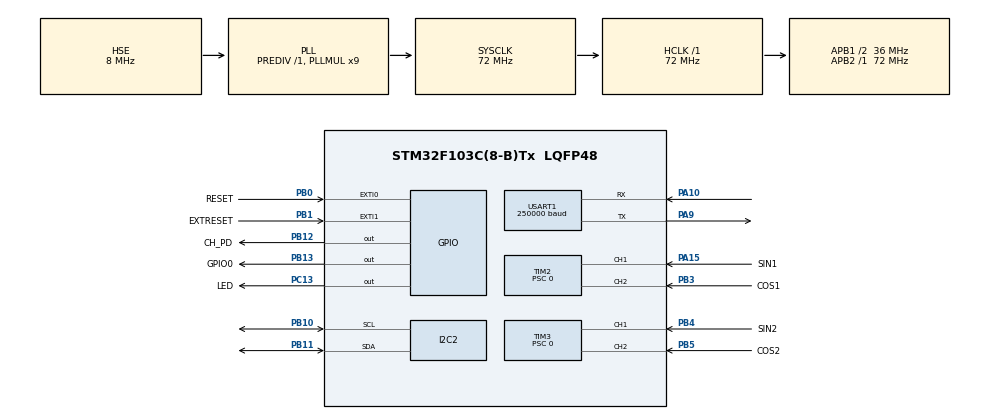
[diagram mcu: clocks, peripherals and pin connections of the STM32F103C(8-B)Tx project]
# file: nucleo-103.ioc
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Mcu.Family=STM32F1
Mcu.Name=STM32F103C(8-B)Tx
Mcu.Package=LQFP48
NVIC.EXTI0_IRQn=true\:0\:0\:false\:false\:true
NVIC.EXTI1_IRQn=true\:0\:0\:false\:false\:true
NVIC.PriorityGroup=NVIC_PRIORITYGROUP_4
NVIC.TIM2_IRQn=true\:0\:0\:false\:false\:true
NVIC.TIM3_IRQn=true\:0\:0\:false\:false\:true
NVIC.TIM4_IRQn=true\:0\:0\:false\:false\:true
NVIC.USART1_IRQn=true\:0\:0\:false\:false\:true
PA10.GPIO_PuPd=GPIO_NOPULL
PA10.Mode=Asynchronous
PA10.Signal=USART1_RX
PA13.GPIO_Label=SWDIO
PA13.Mode=Serial_Wire
PA13.Signal=SYS_JTMS-SWDIO
PA14.GPIO_Label=SWCLK
PA14.Mode=Serial_Wire
PA14.Signal=SYS_JTCK-SWCLK
PA15.GPIO_Label=SIN1
PA15.GPIO_PuPd=GPIO_PULLDOWN
PA15.Signal=S_TIM2_CH1_ETR
PA9.Mode=Asynchronous
PA9.Signal=USART1_TX
PB0.GPIO_Label=RESET
PB0.GPIO_PuPd=GPIO_PULLUP
PB0.Signal=GPXTI0
PB1.GPIO_Label=EXTRESET
PB1.GPIO_PuPd=GPIO_PULLUP
PB1.Signal=GPXTI1
PB10.Mode=I2C
PB10.Signal=I2C2_SCL
PB11.Mode=I2C
PB11.Signal=I2C2_SDA
PB12.GPIO_Label=CH_PD
PB12.PinState=GPIO_PIN_SET
PB12.Signal=GPIO_Output
PB13.GPIO_Label=GPIO0
PB13.PinState=GPIO_PIN_SET
PB13.Signal=GPIO_Output
PB3.GPIO_Label=COS1
PB3.GPIO_PuPd=GPIO_PULLDOWN
PB3.Signal=S_TIM2_CH2
PB4.GPIO_Label=SIN2
PB4.GPIO_PuPd=GPIO_PULLDOWN
PB4.Signal=S_TIM3_CH1
PB5.GPIO_Label=COS2
PB5.GPIO_PuPd=GPIO_PULLDOWN
PB5.Signal=S_TIM3_CH2
PC13-TAMPER-RTC.GPIO_Label=LED
PC13-TAMPER-RTC.PinState=GPIO_PIN_SET
PC13-TAMPER-RTC.Signal=GPIO_Output
PC14-OSC32_IN.Mode=LSE-External-Oscillator
PC14-OSC32_IN.Signal=RCC_OSC32_IN
PC15-OSC32_OUT.Mode=LSE-External-Oscillator
PC15-OSC32_OUT.Signal=RCC_OSC32_OUT
PD0-OSC_IN.Mode=HSE-External-Oscillator
PD0-OSC_IN.Signal=RCC_OSC_IN
PD1-OSC_OUT.Mode=HSE-External-Oscillator
PD1-OSC_OUT.Signal=RCC_OSC_OUT
ProjectManager.HeapSize=0x1000
ProjectManager.StackSize=0x1000
ProjectManager.TargetToolchain=SW4STM32
RCC.ADCPresc=RCC_ADCPCLK2_DIV6
RCC.AHBFreq_Value=72000000
RCC.APB1CLKDivider=RCC_HCLK_DIV2
RCC.APB1Freq_Value=36000000
RCC.APB1TimFreq_Value=72000000
RCC.APB2Freq_Value=72000000
RCC.APB2TimFreq_Value=72000000
RCC.HCLKFreq_Value=72000000
RCC.PLLMUL=RCC_PLL_MUL9
RCC.PLLSourceVirtual=RCC_PLLSOURCE_HSE
RCC.RTCClockSelection=RCC_RTCCLKSOURCE_LSE
RCC.SYSCLKFreq_VALUE=72000000
RCC.SYSCLKSource=RCC_SYSCLKSOURCE_PLLCLK
RCC.USBFreq_Value=48000000
RCC.USBPrescaler=RCC_USBCLKSOURCE_PLL_DIV1_5
RCC.VDD_VALUE=3.3
SH.S_TIM2_CH1_ETR.0=TIM2_CH1,Encoder_Interface
SH.S_TIM2_CH2.0=TIM2_CH2,Encoder_Interface
SH.S_TIM3_CH1.0=TIM3_CH1,Encoder_Interface
SH.S_TIM3_CH2.0=TIM3_CH2,Encoder_Interface
TIM2.ClockDivision=TIM_CLOCKDIVISION_DIV1
TIM2.EncoderMode=TIM_ENCODERMODE_TI12
TIM2.IC1Filter=0
TIM2.IC1Polarity=TIM_ICPOLARITY_RISING
TIM2.IC1Prescaler=TIM_ICPSC_DIV1
TIM2.IC2Filter=0
TIM2.IC2Polarity=TIM_ICPOLARITY_RISING
TIM2.IC2Prescaler=TIM_ICPSC_DIV1
TIM2.Period=65535
TIM2.Prescaler=0
TIM3.ClockDivision=TIM_CLOCKDIVISION_DIV1
TIM3.EncoderMode=TIM_ENCODERMODE_TI12
TIM3.IC1Filter=0
TIM3.IC1Polarity=TIM_ICPOLARITY_RISING
TIM3.IC1Prescaler=TIM_ICPSC_DIV1
TIM3.IC2Filter=0
TIM3.IC2Polarity=TIM_ICPOLARITY_RISING
TIM3.IC2Prescaler=TIM_ICPSC_DIV1
TIM3.Period=65535
TIM3.Prescaler=0
TIM4.Period=120
TIM4.Prescaler=60000
USART1.BaudRate=250000
USART1.VirtualMode=VM_ASYNC
VP_TIM4_VS_ClockSourceINT.Mode=Internal
board=nucleo-103

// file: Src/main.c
/**
  ******************************************************************************
  * File Name          : main.c
  * Description        : Main program body
  ******************************************************************************
  *
  * COPYRIGHT(c) 2017 STMicroelectronics
  *
  * Redistribution and use in source and binary forms, with or without modification,
  * are permitted provided that the following conditions are met:
  *   1. Redistributions of source code must retain the above copyright notice,
  *      this list of conditions and the following disclaimer.
  *   2. Redistributions in binary form must reproduce the above copyright notice,
  *      this list of conditions and the following disclaimer in the documentation
  *      and/or other materials provided with the distribution.
  *   3. Neither the name of STMicroelectronics nor the names of its contributors
  *      may be used to endorse or promote products derived from this software
  *      without specific prior written permission.
  *
  * THIS SOFTWARE IS PROVIDED BY THE COPYRIGHT HOLDERS AND CONTRIBUTORS "AS IS"
  * AND ANY EXPRESS OR IMPLIED WARRANTIES, INCLUDING, BUT NOT LIMITED TO, THE
  * IMPLIED WARRANTIES OF MERCHANTABILITY AND FITNESS FOR A PARTICULAR PURPOSE ARE
  * DISCLAIMED. IN NO EVENT SHALL THE COPYRIGHT HOLDER OR CONTRIBUTORS BE LIABLE
  * FOR ANY DIRECT, INDIRECT, INCIDENTAL, SPECIAL, EXEMPLARY, OR CONSEQUENTIAL
  * DAMAGES (INCLUDING, BUT NOT LIMITED TO, PROCUREMENT OF SUBSTITUTE GOODS OR
  * SERVICES; LOSS OF USE, DATA, OR PROFITS; OR BUSINESS INTERRUPTION) HOWEVER
  * CAUSED AND ON ANY THEORY OF LIABILITY, WHETHER IN CONTRACT, STRICT LIABILITY,
  * OR TORT (INCLUDING NEGLIGENCE OR OTHERWISE) ARISING IN ANY WAY OUT OF THE USE
  * OF THIS SOFTWARE, EVEN IF ADVISED OF THE POSSIBILITY OF SUCH DAMAGE.
  *
  ******************************************************************************
  */
#include "main.h"
#include "stm32f1xx_hal.h"
#include "i2c.h"
#include "tim.h"
#include "usart.h"
#include "gpio.h"

/* USER CODE BEGIN Includes */
#include "utils.h"
#include "hd44780.h"
#include "string.h"

/* USER CODE END Includes */

/* USER CODE BEGIN PV */
/* Private variables ---------------------------------------------------------*/

/* USER CODE END PV */

void SystemClock_Config(void);
void Error_Handler(void);

/* USER CODE BEGIN PFP */
/* Private function prototypes -----------------------------------------------*/

/* USER CODE END PFP */

/* USER CODE BEGIN 0 */
LCD_PCF8574_HandleTypeDef	lcd;
char data;

/* USER CODE END 0 */

int main(void)
{

  /* MCU Configuration----------------------------------------------------------*/

  /* Reset of all peripherals, Initializes the Flash interface and the Systick. */
  HAL_Init();

  /* Configure the system clock */
  SystemClock_Config();

  /* Initialize all configured peripherals */
  MX_GPIO_Init();
  MX_TIM2_Init();
  MX_TIM3_Init();
  MX_TIM4_Init();
  MX_I2C2_Init();
  MX_USART1_UART_Init();

  /* USER CODE BEGIN 2 */

    lcd.pcf8574.PCF_I2C_ADDRESS = 0x3F;
    lcd.pcf8574.PCF_I2C_TIMEOUT = 100;
    lcd.pcf8574.i2c.Instance = I2C2;
    lcd.pcf8574.i2c.Init.ClockSpeed = 400000;
    lcd.NUMBER_OF_LINES = NUMBER_OF_LINES_2;
    lcd.type = TYPE0;

    if (LCD_Init(&lcd) != LCD_OK) {
        HAL_Delay(100);
    }

//    while (HAL_I2C_IsDeviceReady(&hi2c1, 0x3F, 20, 100) != HAL_OK) {
//        HAL_Delay(100);
//    }

    clearLCDandWait();
    HAL_Delay(1000);
    clearLCD();

    HAL_TIM_Encoder_MspInit(&htim2);
    HAL_TIM_Encoder_MspInit(&htim3);
    HAL_TIM_Encoder_Start_IT(&htim2, TIM_CHANNEL_ALL);
    HAL_TIM_Encoder_Start_IT(&htim3, TIM_CHANNEL_ALL);
    HAL_TIM_Base_Start_IT(&htim4);

    resetEncoders();
    //    char *msg = "Hello IronLabs!\n\r";
    //    HAL_UART_Transmit(&huart3, (uint8_t*)msg, 18, 1000);
    //    HAL_UART_Receive_IT(&huart3, &data, 1);
    //    HAL_Delay(2000);
  /* USER CODE END 2 */

  /* Infinite loop */
  /* USER CODE BEGIN WHILE */
    while (1) {
        if (huart1.RxXferCount == 0) {
            if (data == '3') {
                resetEncoders();
            } else if (data == '2') {
                stopMeassure();
            } else if (data == '1') {
                startMeassure();
            } else if (data == '4') {
                resetEncoder1();
            } else if (data == '5') {
                resetEncoder2();
            } else if (data == '6') {
                LCD_SetLocation(&lcd, 0, 1);
                LCD_WriteString(&lcd, ">>>>>>>>>");
                HAL_Delay(1000);
                NVIC_SystemReset();
            } else if (data == '0') {
                send0();
            }
            HAL_UART_Receive_IT(&huart1, &data, 1);
        }
  /* USER CODE END WHILE */

    }

}

/** System Clock Configuration
*/
void SystemClock_Config(void)
{

  RCC_OscInitTypeDef RCC_OscInitStruct;
  RCC_ClkInitTypeDef RCC_ClkInitStruct;

    /**Initializes the CPU, AHB and APB busses clocks
    */
  RCC_OscInitStruct.OscillatorType = RCC_OSCILLATORTYPE_HSE;
  RCC_OscInitStruct.HSEState = RCC_HSE_ON;
  RCC_OscInitStruct.HSEPredivValue = RCC_HSE_PREDIV_DIV1;
  RCC_OscInitStruct.HSIState = RCC_HSI_ON;
  RCC_OscInitStruct.PLL.PLLState = RCC_PLL_ON;
  RCC_OscInitStruct.PLL.PLLSource = RCC_PLLSOURCE_HSE;
  RCC_OscInitStruct.PLL.PLLMUL = RCC_PLL_MUL9;
  if (HAL_RCC_OscConfig(&RCC_OscInitStruct) != HAL_OK)
  {
    Error_Handler();
  }

    /**Initializes the CPU, AHB and APB busses clocks
    */
  RCC_ClkInitStruct.ClockType = RCC_CLOCKTYPE_HCLK|RCC_CLOCKTYPE_SYSCLK
                              |RCC_CLOCKTYPE_PCLK1|RCC_CLOCKTYPE_PCLK2;
  RCC_ClkInitStruct.SYSCLKSource = RCC_SYSCLKSOURCE_PLLCLK;
  RCC_ClkInitStruct.AHBCLKDivider = RCC_SYSCLK_DIV1;
  RCC_ClkInitStruct.APB1CLKDivider = RCC_HCLK_DIV2;
  RCC_ClkInitStruct.APB2CLKDivider = RCC_HCLK_DIV1;

  if (HAL_RCC_ClockConfig(&RCC_ClkInitStruct, FLASH_LATENCY_2) != HAL_OK)
  {
    Error_Handler();
  }

    /**Configure the Systick interrupt time
    */
  HAL_SYSTICK_Config(HAL_RCC_GetHCLKFreq()/1000);

    /**Configure the Systick
    */
  HAL_SYSTICK_CLKSourceConfig(SYSTICK_CLKSOURCE_HCLK);

  /* SysTick_IRQn interrupt configuration */
  HAL_NVIC_SetPriority(SysTick_IRQn, 0, 0);
}

void Error_Handler(void)
{
    while (1) {
    }
}

/************************ (C) COPYRIGHT STMicroelectronics *****END OF FILE****/
